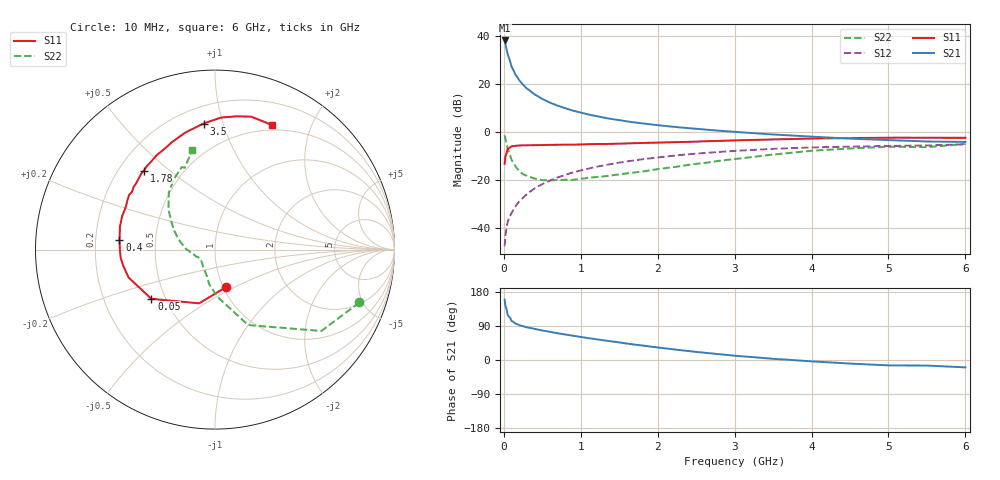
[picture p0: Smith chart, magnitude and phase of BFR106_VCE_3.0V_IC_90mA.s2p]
! Infineon Technologies  Discrete & RF Semiconductors
! BFR106
! VCE =  3.0 V,  IC =  90 mA
! Common Emitter S-Parameters:  Nov 2015
# GHz  S  MA  R  50
!  f  S11  S21  S12  S22
! GHz  MAG  ANG  MAG  ANG  MAG  ANG  MAG  ANG
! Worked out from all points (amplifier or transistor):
!   210 points, 10 MHz to 6 GHz, reference 50 ohm
!   highest |S21| = 38.2 dB at 10 MHz (marker M1)
!   |S21| within 3 dB of that: start of sweep to 31.79 MHz
!   unconditionally stable (mu >= 1): 176.3 MHz to 2.599 GHz; 5.327 GHz to end of sweep
!   at 185 MHz: K = 1.01, MAG = 25.4 dB, |S12| = -29.5 dB
!   at 1.52 GHz: K = 1.06, MAG = 7.3 dB, |S12| = -12.6 dB
!   at 6 GHz: K = 1.01, MAG = 0.0 dB, |S12| = -5.1 dB
!   S11 on the Smith chart (normalised r, x): 10 MHz: 1.03, -0.45; 50 MHz: 0.42, -0.29; 400 MHz: 0.30, +0.05; 1.78 GHz: 0.30, +0.41; 3.5 GHz: 0.31, +0.86; 6 GHz: 0.44, +1.47
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0.01  0.2176 -73.1  81.31 159.5  0.0042 77.2  0.857 -20.1
0.02  0.3123 -106.5  69.7 143.6  0.0071 69.9  0.7465 -37.4
0.05  0.4484 -142.3  41.77 118.3  0.0134 61.5  0.4592 -66.3
0.1  0.506 -162.1  23.3 103.2  0.0206 66.1  0.2639 -87.0
0.15  0.5195 -170.2  15.85 96.1  0.0282 69.1  0.1938 -99.9
0.2  0.5273 -174.9  12.07 91.9  0.0357 72.2  0.1549 -106.7
0.24  0.5286 -177.7  10.12 89.3  0.0415 72.5  0.1366 -113.4
0.26  0.5293 -179.0  9.329 88.1  0.0446 72.9  0.1303 -116.3
0.3  0.5308 178.8  8.079 86.2  0.051 73.7  0.1225 -120.8
0.4  0.5349 174.2  6.11 81.9  0.0669 73.7  0.1075 -130.8
0.5  0.5382 170.6  4.906 77.9  0.0823 73.3  0.1 -137.8
0.6  0.5447 166.5  4.113 74.2  0.0981 72.5  0.0989 -141.9
0.8  0.5503 160.3  3.123 67.2  0.1289 69.9  0.1016 -151.3
1.02  0.5541 152.9  2.497 60.2  0.1621 66.9  0.1071 -157.5
1.3  0.5635 145.1  1.999 51.7  0.2033 62.4  0.1195 -166.0
1.78  0.5923 132.0  1.534 38.8  0.2687 54.5  0.1489 -178.3
2.02  0.6051 126.3  1.383 32.6  0.2996 50.6  0.1713 175.3
3.1  0.6786 102.2  0.987 9.8  0.4144 32.9  0.2863 147.7
3.5  0.7054 95.2  0.893 3.1  0.4489 26.9  0.3411 139.5
4.1  0.7384 86.2  0.789 -4.7  0.4826 17.9  0.4169 127.1
5.1  0.7662 73.6  0.673 -14.3  0.518 5.8  0.4938 111.6
6  0.7625 65.2  0.624 -19.5  0.5571 -3.5  0.5671 103.0
